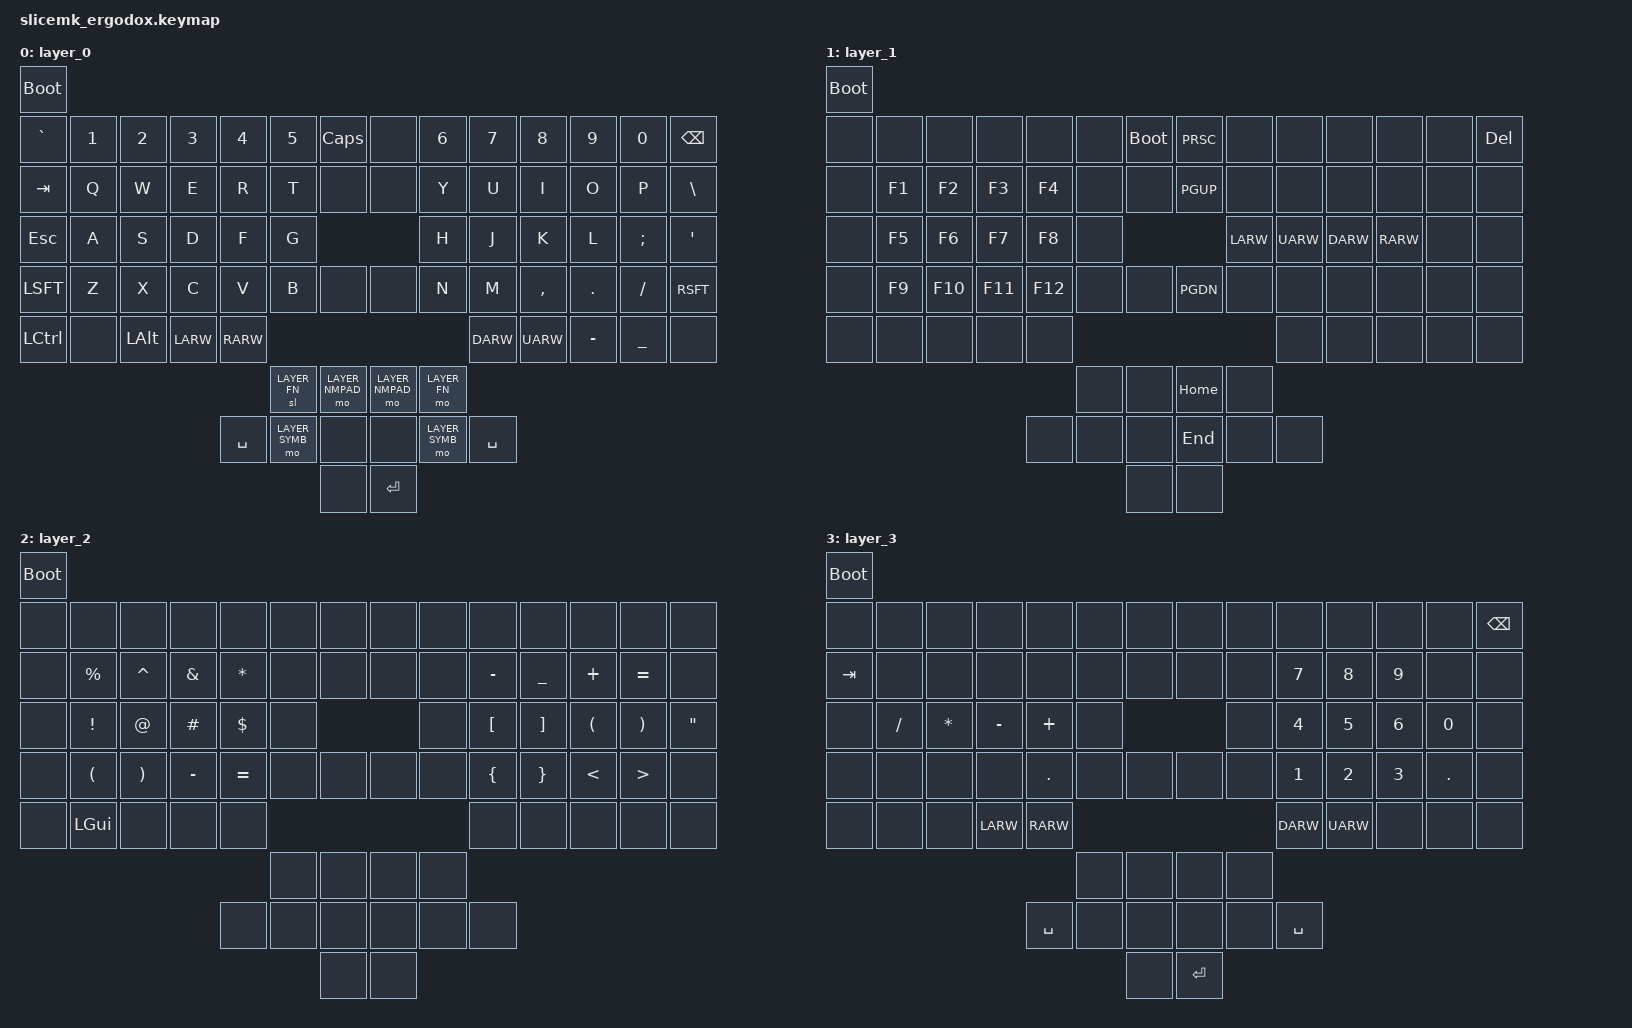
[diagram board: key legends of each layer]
#include <behaviors.dtsi>
#include <dt-bindings/zmk/bt.h>
#include <dt-bindings/zmk/keys.h>
#include <dt-bindings/zmk/outputs.h>
#include <dt-bindings/zmk/rgb.h>

#define LAYER_MAIN 0
#define LAYER_FN 1
#define LAYER_SYMB 2
#define LAYER_NMPAD 3



/ {
	keymap {
		compatible = "zmk,keymap";
		layer_0 {
			bindings = <
				&bootloader
				&kp GRAV &kp NUMBER_1 &kp NUMBER_2 &kp NUMBER_3 &kp NUMBER_4 &kp NUMBER_5   &kp CAPS        &none           &kp NUMBER_6   &kp NUMBER_7 &kp NUMBER_8 &kp NUMBER_9 &kp NUMBER_0  &kp BKSP
				&kp TAB  &kp Q        &kp W        &kp E        &kp R        &kp T          &none           &none           &kp Y          &kp U        &kp I        &kp O        &kp P         &kp BSLH
				&kp ESC  &kp A        &kp S        &kp D        &kp F        &kp G                                          &kp H          &kp J        &kp K        &kp L        &kp SEMICOLON &kp SQT
				&kp LSFT &kp Z        &kp X        &kp C        &kp V        &kp B          &none           &none           &kp N          &kp M        &kp CMMA     &kp DOT      &kp FSLH      &kp RSFT
				&kp LCTL &none        &kp LALT     &kp LARW     &kp RARW                                                                   &kp DARW     &kp UARW     &kp MINUS    &kp UNDER     &none
				                                                             &sl LAYER_FN   &mo LAYER_NMPAD &mo LAYER_NMPAD &mo LAYER_FN
				                                                &kp SPC      &mo LAYER_SYMB &none           &none           &mo LAYER_SYMB &kp SPC
				                                                                            &none           &kp RET
			>;
		};
		layer_1 {
			bindings = <
				&bootloader
				&none &none  &none   &none   &none   &none &bootloader &kp PRSC &none    &none    &none    &none    &none &kp DEL
				&none &kp F1 &kp F2  &kp F3  &kp F4  &none &none       &kp PGUP &none    &none    &none    &none    &none &none
				&none &kp F5 &kp F6  &kp F7  &kp F8  &none                      &kp LARW &kp UARW &kp DARW &kp RARW &none &none
				&none &kp F9 &kp F10 &kp F11 &kp F12 &none &none       &kp PGDN &none    &none    &none    &none    &none &none
				&none &none  &none   &none   &none                                       &none    &none    &none    &none &none
				                                     &none &none       &kp HOME &none
				                             &none   &none &none       &kp END  &none    &none
				                                           &none       &none
			>;
		};
		layer_2 {
			bindings = <
				&bootloader
				&none &none       &none     &none     &none      &none &none &none &none &none          &none           &none    &none     &none
				&none &kp PERCENT &kp CARET &kp AMPS  &kp STAR   &none &none &none &none &kp MINUS      &kp UNDER       &kp PLUS &kp EQUAL &none
				&none &kp EXCL    &kp AT    &kp HASH  &kp DOLLAR &none             &none &kp LBKT       &kp RBKT        &kp LPAR &kp RPAR  &kp DQT
				&none &kp LPAR    &kp RPAR  &kp MINUS &kp EQUAL  &none &none &none &none &kp LEFT_BRACE &kp RIGHT_BRACE &kp LT   &kp GT    &none
				&none &kp LGUI    &none     &none     &none                              &none          &none           &none    &none     &none
				                                                 &none &none &none &none
				                                      &none      &none &none &none &none &none
				                                                       &none &none
			>;
		};
		layer_3 {
			bindings = <
				&bootloader
				&none   &none     &none        &none     &none    &none &none &none   &none &none        &none        &none        &none        &kp BKSP
				&kp TAB &none     &none        &none     &none    &none &none &none   &none &kp NUMBER_7 &kp NUMBER_8 &kp NUMBER_9 &none        &none
				&none   &kp SLASH &kp ASTERISK &kp MINUS &kp PLUS &none               &none &kp NUMBER_4 &kp NUMBER_5 &kp NUMBER_6 &kp NUMBER_0 &none
				&none   &none     &none        &none     &kp DOT  &none &none &none   &none &kp NUMBER_1 &kp NUMBER_2 &kp NUMBER_3 &kp PERIOD   &none
				&none   &none     &none        &kp LARW  &kp RARW                           &kp DARW     &kp UARW     &none        &none        &none
				                                                  &none &none &none   &none
				                                         &kp SPC  &none &none &none   &none &kp SPC
				                                                        &none &kp RET
			>;
		};
	};

};
